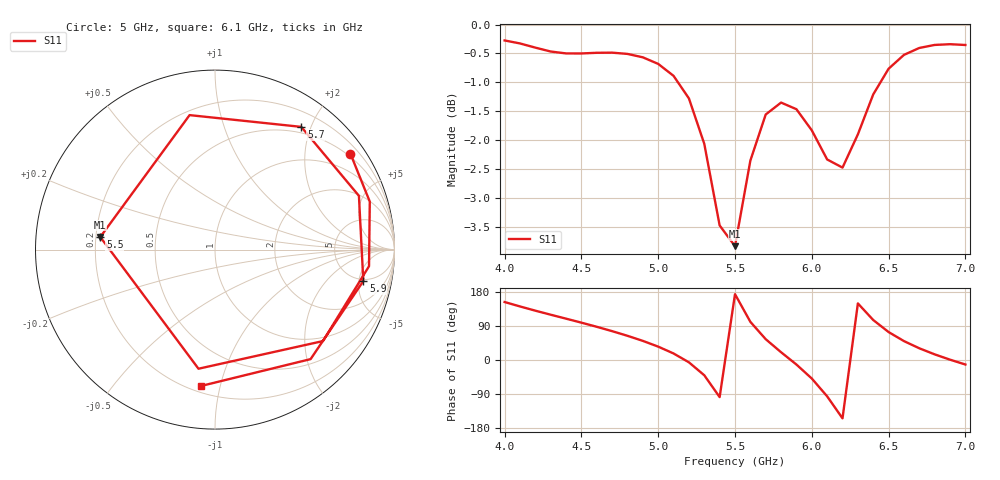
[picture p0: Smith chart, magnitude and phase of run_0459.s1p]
! Touchstone file exported from HFSS 2024.2.0
!  File:  C:/Users/wsak9/Desktop/Sim Fast/Widenad Patch/WP_AI_V1_sweep.aedt
!  Generated:  11:01:44 AM Oct 14, 2026
!  Design:  A1_model
!  Project:  WP_AI_V1_sweep
!  Setup:  Setup1
!  Solution:  Sweep
! Variables:
!  Air_gap = 2.92mm
!  Curve_Amp1 = 2.13
!  Curve_len1 = 1
!  Curve_pos = 10.695mm
!  Extra = 7.66mm
!  H_sub = 0.79mm
!  L_Patch = 17.39mm
!  L_Patch1 = 20.17mm
!  Sx = 4.32mm
!  Sy = 0.99mm
!  WS = 0.36mm
!  W_Patch = 11.63mm
!  W_Patch1 = 12.51mm
!Data is not renormalized
# GHz S MA
! Terminal data exported
! Port[1] = 1
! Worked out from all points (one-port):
!   31 points, 4 GHz to 7 GHz, reference per port
!   lowest |S11| = -3.8 dB at 5.5 GHz (marker M1), VSWR 4.60
!   |S11| at or under -10 dB: nowhere
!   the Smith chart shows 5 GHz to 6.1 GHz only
!   S11 on the Smith chart (normalised r, x): 5 GHz: 0.42, +3.09; 5.5 GHz: 0.22, +0.05; 5.7 GHz: 0.41, +1.86; 5.9 GHz: 4.70, -5.76; 6.1 GHz: 0.24, -0.87
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4  0.9688 153.0
4.2  0.9551 130.2
4.4  0.9441 109.1
4.6  0.9453 87.6
4.7  0.9455 76.1
4.8  0.9432 63.9
4.9  0.9368 50.4
5  0.9246 35.3
5.1  0.9028 17.2
5.2  0.8631 -6.1
5.3  0.7884 -40.3
5.4  0.6701 -97.9
5.5  0.643 173.7
5.6  0.7625 100.7
5.7  0.8359 54.9
5.8  0.856 20.5
5.9  0.8447 -12.0
6  0.8099 -48.9
6.1  0.7642 -95.9
6.2  0.7519 -154.0
6.3  0.8035 149.3
6.4  0.87 105.5
6.5  0.9157 73.8
6.6  0.9414 49.9
6.7  0.9545 30.9
6.8  0.9602 14.9
6.9  0.9616 0.8
7  0.9601 -11.9
